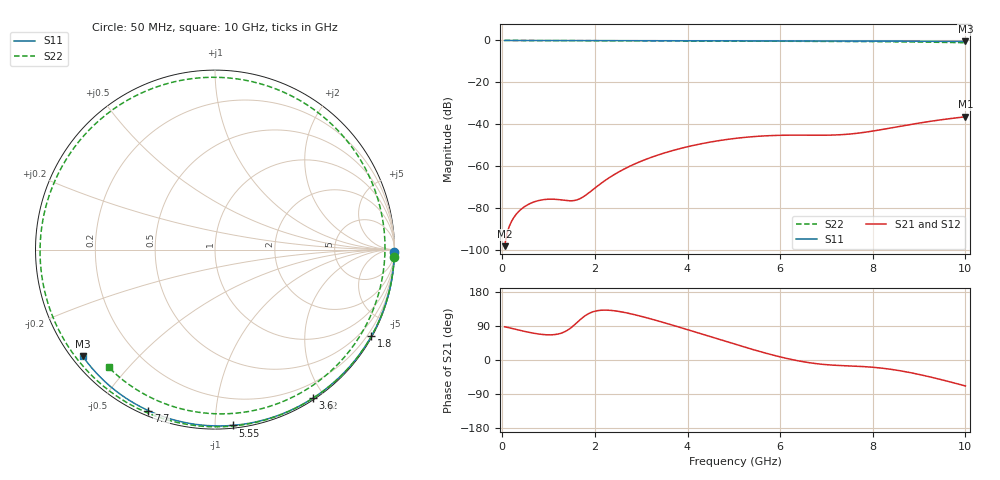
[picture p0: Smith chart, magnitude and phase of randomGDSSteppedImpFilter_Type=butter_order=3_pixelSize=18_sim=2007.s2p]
! freq	dB(S11)	phase(S11)	dB(S12)	phase(S12)
!  dB(S21)	phase(S21)	dB(S22)	phase(S22)
!S-par simulation data
#  GHz  S  DB  R 50
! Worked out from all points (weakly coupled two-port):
!   200 points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, 50 MHz to 10 GHz, reference 50 ohm
!   highest |S21| = -36.42 dB at 10 GHz (marker M1); lowest = -98.1 dB at 50 MHz (marker M2)
!   lowest |S11| = -0.5 dB at 10 GHz (marker M3), VSWR 36.51, Z = 1.54 - j17.7 ohm
!   |S11| at or under -10 dB: nowhere
!   |S22| runs from -1.1 to 0.0 dB; largest |S21 - S12| = 0
!   S11 on the Smith chart (normalised r, x): 50 MHz: open; 1.8 GHz: 0.03, -3.87; 3.6 GHz: 0.02, -1.86; 5.55 GHz: 0.02, -1.11; 7.7 GHz: 0.02, -0.67; 10 GHz: 0.03, -0.35
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0.05  -0.00 -0.8  -98.10 87.7  -98.10 87.7  -0.01 -2.5
0.4  -0.01 -6.5  -80.62 77.7  -80.62 77.7  -0.02 -19.4
0.7  -0.01 -11.4  -76.89 70.2  -76.89 70.2  -0.04 -33.8
1  -0.02 -16.2  -75.69 66.4  -75.69 66.4  -0.06 -48.0
1.5  -0.03 -24.2  -76.45 86.6  -76.45 86.6  -0.09 -71.1
1.75  -0.04 -28.2  -74.54 113.3  -74.54 113.3  -0.10 -82.5
1.8  -0.04 -29.0  -73.79 117.7  -73.79 117.7  -0.10 -84.8
2.55  -0.05 -40.7  -62.27 127.5  -62.27 127.5  -0.14 -118.1
3.4  -0.07 -53.6  -54.35 101.8  -54.35 101.8  -0.19 -155.5
3.6  -0.08 -56.5  -53.00 94.7  -53.00 94.7  -0.20 -164.4
4.35  -0.10 -67.5  -49.03 67.0  -49.03 67.0  -0.25 161.0
5.05  -0.12 -77.4  -46.65 40.7  -46.65 40.7  -0.30 126.2
5.55  -0.14 -84.3  -45.65 22.8  -45.65 22.8  -0.34 99.6
6.1  -0.16 -91.7  -45.19 5.3  -45.19 5.3  -0.38 68.9
6.7  -0.19 -99.6  -45.20 -8.4  -45.20 -8.4  -0.42 34.5
7.2  -0.22 -106.1  -45.07 -14.0  -45.07 -14.0  -0.46 6.2
7.7  -0.26 -112.5  -44.16 -16.7  -44.16 -16.7  -0.51 -21.0
8.35  -0.31 -120.6  -41.89 -23.9  -41.89 -23.9  -0.61 -54.2
8.75  -0.34 -125.6  -40.33 -31.9  -40.33 -31.9  -0.69 -73.5
9.15  -0.38 -130.5  -38.88 -42.2  -38.88 -42.2  -0.79 -92.3
9.55  -0.42 -135.5  -37.60 -54.0  -37.60 -54.0  -0.91 -110.9
10  -0.48 -141.1  -36.42 -68.5  -36.42 -68.5  -1.07 -132.1
